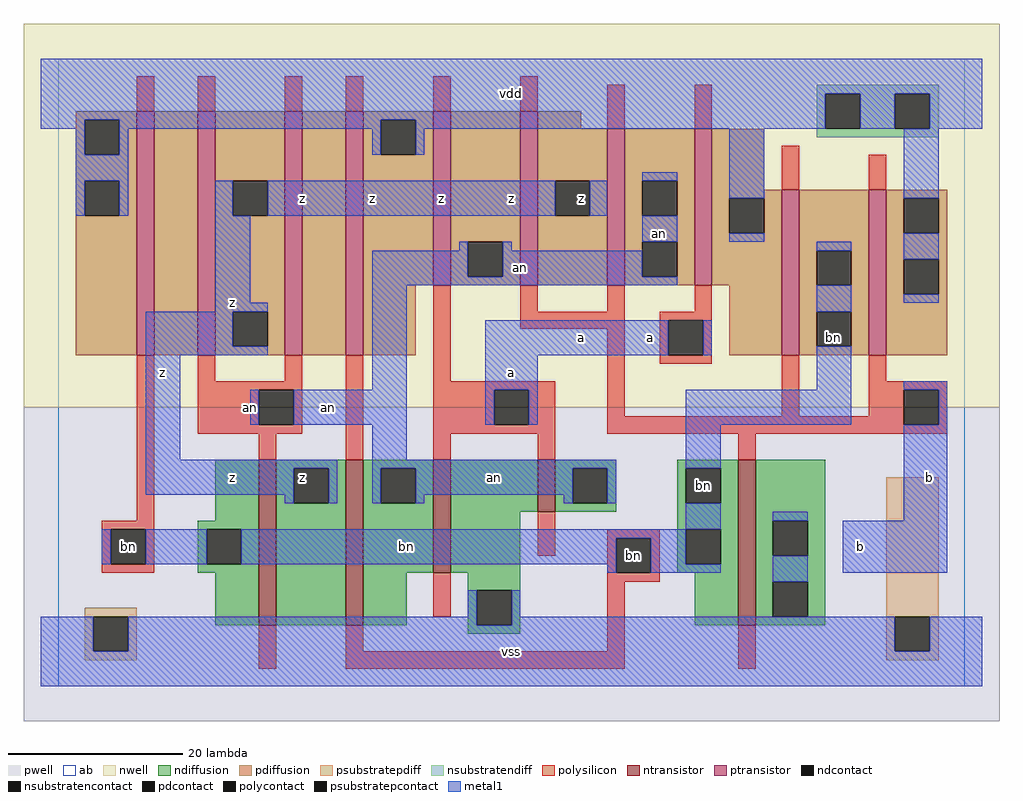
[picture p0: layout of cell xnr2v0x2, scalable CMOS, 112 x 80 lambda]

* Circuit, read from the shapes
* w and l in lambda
.subckt xnr2v0x2 a an b bn vdd vss z
M1 z an bn vss nfet w=19 l=2
M2 an bn z vss nfet w=19 l=2
M3 vss a an vss nfet w=13 l=2
M4 an a vss vss nfet w=6 l=2
M5 vss b bn vss nfet w=19 l=2
M6 n1 bn vdd vdd pfet w=28 l=2
M7 z an n1 vdd pfet w=28 l=2
M8 n2 an z vdd pfet w=28 l=2
M9 vdd bn n2 vdd pfet w=28 l=2
M10 an a vdd vdd pfet w=20 l=2
M11 z b an vdd pfet w=20 l=2
M12 an b z vdd pfet w=18 l=2
M13 vdd a an vdd pfet w=18 l=2
M14 bn b vdd vdd pfet w=19 l=2 m=2
.ends

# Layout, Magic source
magic
tech scmos
<< ab >>
rect 0 0 104 72
<< pwell >>
rect -4 -4 108 32
<< nwell >>
rect -4 32 108 76
<< polysilicon >>
rect 9 66 11 70
rect 16 66 18 70
rect 26 66 28 70
rect 33 66 35 70
rect 43 66 45 70
rect 53 66 55 70
rect 63 64 65 69
rect 73 64 75 69
rect 83 57 85 62
rect 93 57 95 61
rect 9 19 11 38
rect 16 35 18 38
rect 26 35 28 38
rect 16 34 28 35
rect 16 30 23 34
rect 27 30 28 34
rect 16 29 28 30
rect 23 26 25 29
rect 33 26 35 38
rect 43 35 45 46
rect 53 43 55 46
rect 63 43 65 46
rect 73 43 75 46
rect 53 41 65 43
rect 43 34 57 35
rect 43 30 50 34
rect 54 30 57 34
rect 43 29 57 30
rect 63 31 65 41
rect 69 42 75 43
rect 69 38 70 42
rect 74 38 75 42
rect 69 37 75 38
rect 83 31 85 38
rect 93 35 95 38
rect 93 34 102 35
rect 93 31 97 34
rect 63 30 97 31
rect 101 30 102 34
rect 63 29 102 30
rect 43 26 45 29
rect 55 26 57 29
rect 78 26 80 29
rect 5 18 11 19
rect 5 14 6 18
rect 10 14 11 18
rect 5 13 11 14
rect 55 15 57 20
rect 63 17 69 18
rect 43 8 45 13
rect 23 2 25 7
rect 33 4 35 7
rect 63 13 64 17
rect 68 13 69 17
rect 63 12 69 13
rect 63 4 65 12
rect 33 2 65 4
rect 78 2 80 7
<< ndiffusion >>
rect 18 19 23 26
rect 16 18 23 19
rect 16 14 17 18
rect 21 14 23 18
rect 16 13 23 14
rect 18 7 23 13
rect 25 25 33 26
rect 25 21 27 25
rect 31 21 33 25
rect 25 7 33 21
rect 35 25 43 26
rect 35 21 37 25
rect 41 21 43 25
rect 35 13 43 21
rect 45 20 55 26
rect 57 25 64 26
rect 57 21 59 25
rect 63 21 64 25
rect 57 20 64 21
rect 71 25 78 26
rect 71 21 72 25
rect 76 21 78 25
rect 45 13 53 20
rect 71 18 78 21
rect 35 7 40 13
rect 47 11 53 13
rect 47 7 48 11
rect 52 7 53 11
rect 47 6 53 7
rect 71 14 72 18
rect 76 14 78 18
rect 71 13 78 14
rect 73 7 78 13
rect 80 19 88 26
rect 80 15 82 19
rect 86 15 88 19
rect 80 12 88 15
rect 80 8 82 12
rect 86 8 88 12
rect 80 7 88 8
<< pdiffusion >>
rect 2 65 9 66
rect 2 61 3 65
rect 7 61 9 65
rect 2 58 9 61
rect 2 54 3 58
rect 7 54 9 58
rect 2 38 9 54
rect 11 38 16 66
rect 18 58 26 66
rect 18 54 20 58
rect 24 54 26 58
rect 18 43 26 54
rect 18 39 20 43
rect 24 39 26 43
rect 18 38 26 39
rect 28 38 33 66
rect 35 65 43 66
rect 35 61 37 65
rect 41 61 43 65
rect 35 46 43 61
rect 45 51 53 66
rect 45 47 47 51
rect 51 47 53 51
rect 45 46 53 47
rect 55 64 60 66
rect 55 58 63 64
rect 55 54 57 58
rect 61 54 63 58
rect 55 46 63 54
rect 65 58 73 64
rect 65 54 67 58
rect 71 54 73 58
rect 65 51 73 54
rect 65 47 67 51
rect 71 47 73 51
rect 65 46 73 47
rect 75 57 81 64
rect 75 56 83 57
rect 75 52 77 56
rect 81 52 83 56
rect 75 46 83 52
rect 35 38 41 46
rect 77 38 83 46
rect 85 50 93 57
rect 85 46 87 50
rect 91 46 93 50
rect 85 43 93 46
rect 85 39 87 43
rect 91 39 93 43
rect 85 38 93 39
rect 95 56 102 57
rect 95 52 97 56
rect 101 52 102 56
rect 95 49 102 52
rect 95 45 97 49
rect 101 45 102 49
rect 95 38 102 45
<< metal1 >>
rect -2 68 106 72
rect -2 65 88 68
rect -2 64 3 65
rect 2 61 3 64
rect 7 64 37 65
rect 7 61 8 64
rect 36 61 37 64
rect 41 64 88 65
rect 92 64 96 68
rect 100 64 106 68
rect 41 61 42 64
rect 2 58 8 61
rect 67 58 71 59
rect 2 54 3 58
rect 7 54 8 58
rect 18 54 20 58
rect 24 54 57 58
rect 61 54 63 58
rect 18 44 22 54
rect 67 51 71 54
rect 77 56 81 64
rect 77 51 81 52
rect 97 56 101 64
rect 46 50 47 51
rect 36 47 47 50
rect 51 50 52 51
rect 51 47 67 50
rect 36 46 71 47
rect 87 50 91 51
rect 18 43 24 44
rect 10 39 20 43
rect 10 38 24 39
rect 10 26 14 38
rect 36 34 40 46
rect 87 43 91 46
rect 97 49 101 52
rect 97 44 101 45
rect 22 30 23 34
rect 27 30 40 34
rect 49 38 70 42
rect 74 38 75 42
rect 49 34 55 38
rect 87 34 91 39
rect 49 30 50 34
rect 54 30 55 34
rect 72 30 91 34
rect 97 34 102 35
rect 101 30 102 34
rect 36 26 40 30
rect 10 25 32 26
rect 10 22 27 25
rect 26 21 27 22
rect 31 21 32 25
rect 36 25 64 26
rect 36 21 37 25
rect 41 22 59 25
rect 41 21 42 22
rect 58 21 59 22
rect 63 21 64 25
rect 72 25 76 30
rect 72 18 76 21
rect 5 14 6 18
rect 10 14 17 18
rect 21 17 72 18
rect 21 14 64 17
rect 63 13 64 14
rect 68 14 72 17
rect 68 13 76 14
rect 82 19 86 20
rect 97 19 102 30
rect 82 12 86 15
rect 90 13 102 19
rect 47 8 48 11
rect -2 4 4 8
rect 8 7 48 8
rect 52 8 53 11
rect 52 7 96 8
rect 8 4 96 7
rect 100 4 106 8
rect -2 0 106 4
<< ntransistor >>
rect 23 7 25 26
rect 33 7 35 26
rect 43 13 45 26
rect 55 20 57 26
rect 78 7 80 26
<< ptransistor >>
rect 9 38 11 66
rect 16 38 18 66
rect 26 38 28 66
rect 33 38 35 66
rect 43 46 45 66
rect 53 46 55 66
rect 63 46 65 64
rect 73 46 75 64
rect 83 38 85 57
rect 93 38 95 57
<< polycontact >>
rect 23 30 27 34
rect 50 30 54 34
rect 70 38 74 42
rect 97 30 101 34
rect 6 14 10 18
rect 64 13 68 17
<< ndcontact >>
rect 17 14 21 18
rect 27 21 31 25
rect 37 21 41 25
rect 59 21 63 25
rect 72 21 76 25
rect 48 7 52 11
rect 72 14 76 18
rect 82 15 86 19
rect 82 8 86 12
<< pdcontact >>
rect 3 61 7 65
rect 3 54 7 58
rect 20 54 24 58
rect 20 39 24 43
rect 37 61 41 65
rect 47 47 51 51
rect 57 54 61 58
rect 67 54 71 58
rect 67 47 71 51
rect 77 52 81 56
rect 87 46 91 50
rect 87 39 91 43
rect 97 52 101 56
rect 97 45 101 49
<< psubstratepcontact >>
rect 4 4 8 8
rect 96 4 100 8
<< nsubstratencontact >>
rect 88 64 92 68
rect 96 64 100 68
<< psubstratepdiff >>
rect 3 8 9 9
rect 3 4 4 8
rect 8 4 9 8
rect 3 3 9 4
rect 95 8 101 24
rect 95 4 96 8
rect 100 4 101 8
rect 95 3 101 4
<< nsubstratendiff >>
rect 87 68 101 69
rect 87 64 88 68
rect 92 64 96 68
rect 100 64 101 68
rect 87 63 101 64
<< labels >>
rlabel polycontact 8 16 8 16 6 bn
rlabel polysilicon 22 32 22 32 6 an
rlabel polycontact 66 15 66 15 6 bn
rlabel metal1 12 36 12 36 6 z
rlabel metal1 20 24 20 24 6 z
rlabel ndcontact 28 24 28 24 6 z
rlabel metal1 31 32 31 32 6 an
rlabel metal1 20 44 20 44 6 z
rlabel metal1 36 56 36 56 6 z
rlabel metal1 28 56 28 56 6 z
rlabel metal1 52 4 52 4 6 vss
rlabel metal1 52 36 52 36 6 a
rlabel metal1 60 40 60 40 6 a
rlabel pdcontact 60 56 60 56 6 z
rlabel metal1 52 56 52 56 6 z
rlabel metal1 44 56 44 56 6 z
rlabel metal1 52 68 52 68 6 vdd
rlabel metal1 40 16 40 16 6 bn
rlabel metal1 50 24 50 24 6 an
rlabel ndcontact 74 23 74 23 6 bn
rlabel metal1 68 40 68 40 6 a
rlabel metal1 53 48 53 48 6 an
rlabel metal1 69 52 69 52 6 an
rlabel metal1 92 16 92 16 6 b
rlabel metal1 100 24 100 24 6 b
rlabel pdcontact 89 40 89 40 6 bn
<< end >>
